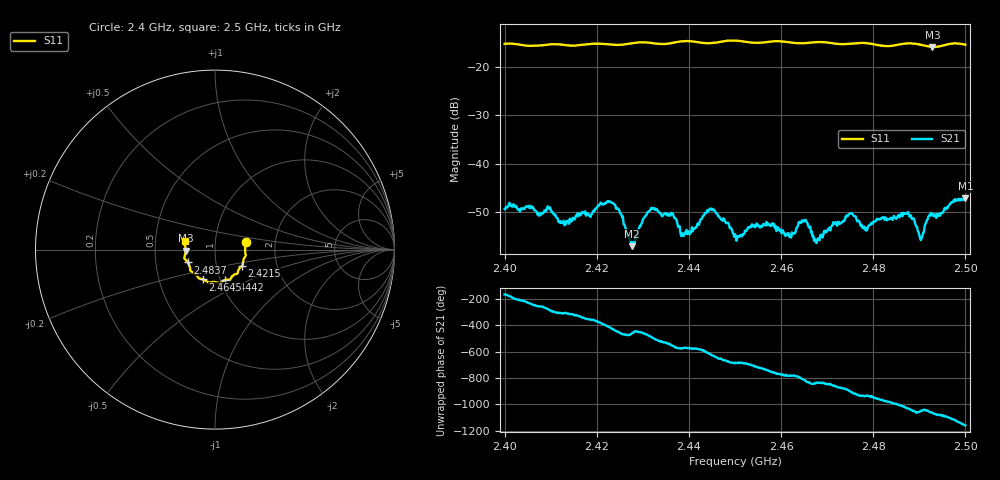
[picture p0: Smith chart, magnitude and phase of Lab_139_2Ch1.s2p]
# Hz S RI R 50
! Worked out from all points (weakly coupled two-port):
!   601 points, 2.4 GHz to 2.5 GHz, reference 50 ohm
!   highest |S21| = -47.25 dB at 2.5 GHz (marker M1); lowest = -57.2 dB at 2.4277 GHz (marker M2)
!   lowest |S11| = -15.7 dB at 2.4928 GHz (marker M3), VSWR 1.39, Z = 36 - j0.383 ohm
!   |S11| at or under -10 dB: start of sweep to end of sweep
!   S12 and S22 are empty: the file has one direction only
!   S11 on the Smith chart (normalised r, x): 2.4 GHz: 1.41, +0.12; 2.4215 GHz: 1.33, -0.25; 2.4442 GHz: 1.05, -0.37; 2.4645 GHz: 0.83, -0.29; 2.4837 GHz: 0.73, -0.11; 2.5 GHz: 0.71, +0.07
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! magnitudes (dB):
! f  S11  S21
! 2.4 GHz  -15.1  -49.5
! 2.4167 GHz  -15.3  -50.5
! 2.4215 GHz  -15.1  -48.5
! 2.4248 GHz  -15.3  -49.6
! 2.4277 GHz  -15.0  -57.2
! 2.4315 GHz  -14.9  -49.9
! 2.4333 GHz  -15.1  -50.0
! 2.4388 GHz  -14.5  -55.1
! 2.4442 GHz  -15.0  -50.0
! 2.45 GHz  -14.4  -54.7
! 2.4567 GHz  -14.7  -52.9
! 2.4623 GHz  -14.8  -54.3
! 2.4645 GHz  -15.0  -51.8
! 2.4667 GHz  -14.8  -54.1
! 2.475 GHz  -15.1  -50.4
! 2.4782 GHz  -14.9  -53.7
! 2.4833 GHz  -15.6  -51.6
! 2.4837 GHz  -15.5  -51.6
! 2.4877 GHz  -15.0  -50.4
! 2.4905 GHz  -15.3  -55.6
! 2.4928 GHz  -15.7  -50.4
! 2.5 GHz  -15.3  -47.3
